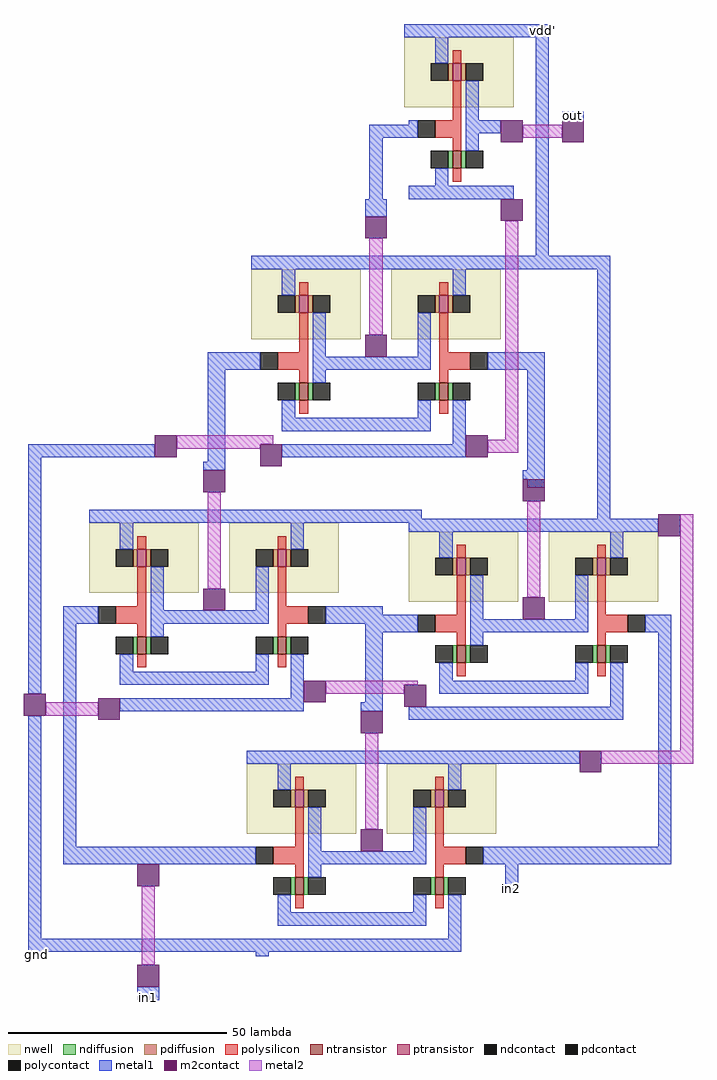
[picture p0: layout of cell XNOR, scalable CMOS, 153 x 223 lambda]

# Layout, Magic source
magic
tech scmos
<< metal1 >>
rect 112 219 120 222
rect 79 196 88 199
rect 79 182 82 196
rect 117 169 120 219
rect 123 200 128 202
rect 110 24 113 25
rect 1 9 5 10
rect 26 -1 31 0
<< m2contact >>
rect 109 195 114 200
rect 109 177 114 182
rect 123 195 128 200
rect 101 123 106 128
<< metal2 >>
rect 114 196 123 199
rect 110 127 113 177
rect 106 124 113 127
use not  not_0
transform 1 0 87 0 1 203
box 0 -21 25 19
use XOR  XOR_0
transform 1 0 50 0 1 10
box -50 -10 103 172
<< labels >>
rlabel metal1 1 9 5 10 3 gnd
rlabel metal1 117 219 120 222 5 vdd'
rlabel metal1 117 219 120 222 5 vdd
rlabel metal1 123 200 128 202 1 out
rlabel metal1 26 -1 31 0 1 in1
rlabel metal1 110 24 113 25 1 in2
<< end >>

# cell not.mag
magic
tech scmos
<< nwell >>
rect 0 0 25 16
<< ntransistor >>
rect 11 -14 13 -10
<< ptransistor >>
rect 11 6 13 10
<< ndiffusion >>
rect 10 -14 11 -10
rect 13 -14 14 -10
<< pdiffusion >>
rect 10 6 11 10
rect 13 6 14 10
<< ndcontact >>
rect 6 -14 10 -10
rect 14 -14 18 -10
<< pdcontact >>
rect 6 6 10 10
rect 14 6 18 10
<< polysilicon >>
rect 11 10 13 13
rect 11 -3 13 6
rect 7 -7 13 -3
rect 11 -10 13 -7
rect 11 -17 13 -14
<< polycontact >>
rect 3 -7 7 -3
<< metal1 >>
rect 0 16 25 19
rect 7 10 10 16
rect 14 -3 17 6
rect 1 -7 3 -3
rect 14 -6 22 -3
rect 14 -10 17 -6
rect 7 -18 10 -14
rect 1 -21 25 -18
<< labels >>
rlabel metal1 0 16 25 19 5 vdd
rlabel metal1 17 -6 22 -3 1 out
rlabel metal1 1 -7 3 -3 3 in
rlabel metal1 1 -21 25 -18 1 gnd
<< end >>

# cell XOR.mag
magic
tech scmos
<< metal1 >>
rect 28 170 33 172
rect 59 156 84 159
rect -8 133 1 137
rect 58 133 69 137
rect -49 113 -20 116
rect -49 59 -46 113
rect -8 112 -4 133
rect 9 113 24 116
rect 65 106 69 133
rect 22 99 41 101
rect 81 99 84 156
rect 22 98 38 99
rect -41 75 -36 79
rect 21 77 32 79
rect 21 75 37 77
rect -49 3 -46 54
rect -41 24 -38 75
rect 28 73 37 75
rect 94 73 98 77
rect -28 55 -13 58
rect 28 57 32 73
rect 38 53 60 56
rect 58 43 77 46
rect 95 24 98 73
rect -41 20 0 24
rect 57 20 98 24
rect 60 15 63 20
rect -49 0 8 3
rect 3 -1 6 0
rect -24 -10 -19 -8
<< m2contact >>
rect -20 113 -15 118
rect 4 111 9 116
rect 95 95 100 100
rect -50 54 -45 59
rect -33 53 -28 58
rect 14 57 19 62
rect 37 56 42 61
rect 77 41 82 46
rect -24 15 -19 20
rect -24 -8 -19 -3
<< metal2 >>
rect -15 116 7 118
rect -15 115 4 116
rect -45 54 -33 57
rect 19 61 40 62
rect 19 59 37 61
rect 100 46 103 100
rect 82 43 103 46
rect -23 -3 -20 15
use NAND  NAND_3
transform 1 0 2 0 1 140
box -1 -27 57 30
use NAND  NAND_2
transform 1 0 38 0 1 80
box -1 -27 57 30
use NAND  NAND_1
transform 1 0 -35 0 1 82
box -1 -27 57 30
use NAND  NAND_0
transform 1 0 1 0 1 27
box -1 -27 57 30
<< labels >>
rlabel metal1 3 -1 6 0 1 gnd
rlabel metal1 28 170 33 172 5 out
rlabel metal1 60 15 63 20 1 in2
rlabel metal1 -24 -10 -19 -8 1 in1
rlabel metal1 81 152 84 159 1 vdd
<< end >>

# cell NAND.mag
magic
tech scmos
<< nwell >>
rect 0 0 25 16
rect 32 0 57 16
<< ntransistor >>
rect 11 -14 13 -10
rect 43 -14 45 -10
<< ptransistor >>
rect 11 6 13 10
rect 43 6 45 10
<< ndiffusion >>
rect 10 -14 11 -10
rect 13 -14 14 -10
rect 42 -14 43 -10
rect 45 -14 46 -10
<< pdiffusion >>
rect 10 6 11 10
rect 13 6 14 10
rect 42 6 43 10
rect 45 6 46 10
<< ndcontact >>
rect 6 -14 10 -10
rect 14 -14 18 -10
rect 38 -14 42 -10
rect 46 -14 50 -10
<< pdcontact >>
rect 6 6 10 10
rect 14 6 18 10
rect 38 6 42 10
rect 46 6 50 10
<< polysilicon >>
rect 11 10 13 13
rect 43 10 45 13
rect 11 -3 13 6
rect 6 -7 13 -3
rect 11 -10 13 -7
rect 43 -3 45 6
rect 43 -7 50 -3
rect 43 -10 45 -7
rect 11 -17 13 -14
rect 43 -17 45 -14
<< polycontact >>
rect 2 -7 6 -3
rect 50 -7 54 -3
<< metal1 >>
rect 26 28 31 30
rect 0 16 57 19
rect 7 10 10 16
rect 46 10 49 16
rect -1 -7 2 -3
rect 14 -4 17 6
rect 38 -4 41 6
rect 14 -7 41 -4
rect 54 -7 56 -3
rect 14 -10 17 -7
rect 7 -18 10 -14
rect 38 -18 41 -14
rect 7 -21 41 -18
rect 46 -24 49 -14
rect 7 -27 49 -24
<< m2contact >>
rect 26 23 31 28
rect 26 -4 31 1
<< metal2 >>
rect 27 1 30 23
<< labels >>
rlabel metal1 0 16 57 19 5 vdd
rlabel metal1 0 -7 2 -3 3 in1
rlabel metal1 54 -7 56 -3 7 in2
rlabel metal1 26 28 31 30 5 out
rlabel metal1 7 -27 49 -24 1 gnd
<< end >>
